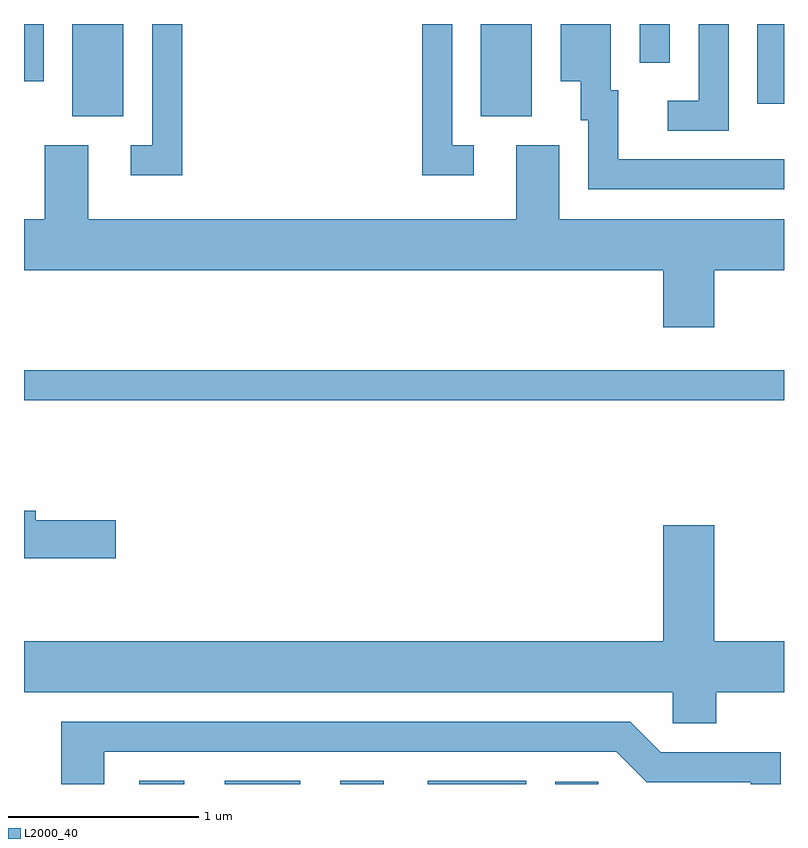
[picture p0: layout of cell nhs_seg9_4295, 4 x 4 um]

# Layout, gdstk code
import gdstk
lib = gdstk.Library(unit=1e-6, precision=1e-09)
def R(c, l, rs):  # rectangles x0, y0, x1, y1
    for r in rs: c.add(gdstk.rectangle(r[:2], r[2:], *l))
def P(c, l, *ps):  # polygons
    for p in ps: c.add(gdstk.Polygon(p, *l))
L2000_40 = (2000, 40)

nhs_seg9_4295 = lib.new_cell('nhs_seg9_4295')
R(nhs_seg9_4295, L2000_40, [(312.218,2002.432,312.454,2002.449), (312.668,2002.432,313.064,2002.449), (313.276,2002.432,313.504,2002.449), (313.736,2002.432,314.254,2002.449), (314.406,2002.432,314.634,2002.444), (311.611,2004.451,315.611,2004.609), (311.866,2005.946,312.134,2006.432), (314.016,2005.946,314.284,2006.432), (315.471,2006.011,315.611,2006.432), (311.611,2006.131,311.714,2006.432), (314.851,2006.228,315.009,2006.432)])
P(nhs_seg9_4295, L2000_40, [(315.319,2006.432),(315.161,2006.432),(315.161,2006.029),(314.998,2006.029),(314.998,2005.871),(315.319,2005.871)],
  [(315.611,2005.719),(314.739,2005.719),(314.739,2006.084),(314.699,2006.084),(314.699,2006.432),(314.436,2006.432),(314.436,2006.131),(314.541,2006.131),(314.541,2005.926),(314.581,2005.926),(314.581,2005.561),(315.611,2005.561)],
  [(313.978,2005.794),(313.864,2005.794),(313.864,2006.432),(313.706,2006.432),(313.706,2005.636),(313.978,2005.636)],
  [(312.444,2006.432),(312.286,2006.432),(312.286,2005.794),(312.173,2005.794),(312.173,2005.636),(312.444,2005.636)],
  [(315.244,2005.136),(315.611,2005.136),(315.611,2005.404),(314.429,2005.404),(314.429,2005.794),(314.201,2005.794),(314.201,2005.404),(311.949,2005.404),(311.949,2005.794),(311.721,2005.794),(311.721,2005.404),(311.611,2005.404),(311.611,2005.136),(314.976,2005.136),(314.976,2004.836),(315.244,2004.836)],
  [(312.094,2003.819),(311.674,2003.819),(311.674,2003.869),(311.611,2003.869),(311.611,2003.621),(312.094,2003.621)],
  [(315.254,2002.916),(315.611,2002.916),(315.611,2003.184),(315.244,2003.184),(315.244,2003.794),(314.976,2003.794),(314.976,2003.184),(311.611,2003.184),(311.611,2002.916),(315.026,2002.916),(315.026,2002.751),(315.254,2002.751)],
  [(312.034,2002.601),(314.729,2002.601),(314.889,2002.441),(315.436,2002.441),(315.436,2002.432),(315.594,2002.432),(315.594,2002.599),(314.962,2002.599),(314.802,2002.759),(311.806,2002.759),(311.806,2002.432),(312.034,2002.432)])

lib.write_gds('nhs_seg9_4295.gds')
